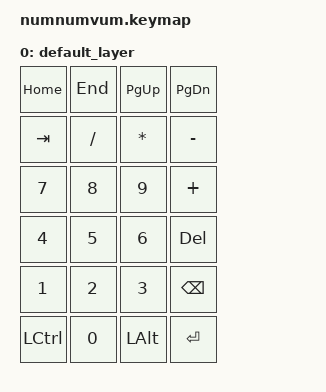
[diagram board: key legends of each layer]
#include <behaviors.dtsi>
#include <dt-bindings/zmk/keys.h>

/ {
    keymap {
        compatible = "zmk,keymap";

        default_layer {
            bindings = <
                /* row 0 */
                &kp HOME   &kp END    &kp PG_UP  &kp PG_DN
                /* row 1 */
                &kp TAB    &kp SLASH  &kp STAR   &kp MINUS
                /* row 2 */
                &kp N7     &kp N8     &kp N9     &kp PLUS
                /* row 3 */
                &kp N4     &kp N5     &kp N6     &kp DEL
                /* row 4 */
                &kp N1     &kp N2     &kp N3     &kp BSPC
                /* row 5 */
                &kp LCTRL  &kp N0     &kp LALT   &kp RET
            >;
        };
    };
};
